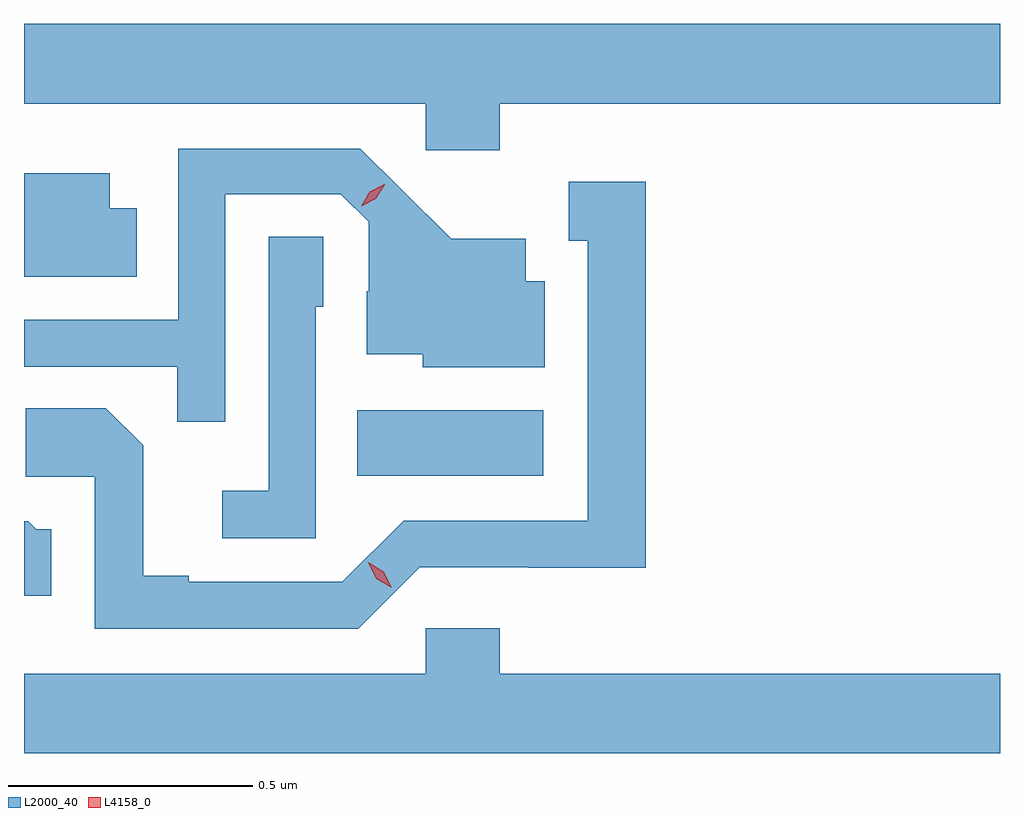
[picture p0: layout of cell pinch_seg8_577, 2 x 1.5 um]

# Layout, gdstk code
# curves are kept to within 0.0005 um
import gdstk
lib = gdstk.Library(unit=1e-6, precision=1e-09)
def R(c, l, rs):  # rectangles x0, y0, x1, y1
    for r in rs: c.add(gdstk.rectangle(r[:2], r[2:], *l))
def P(c, l, *ps):  # polygons
    for p in ps: c.add(gdstk.Polygon(p, *l))
L2000_40 = (2000, 40)
L4158_0 = (4158, 0)

pinch_seg8_577 = lib.new_cell('pinch_seg8_577')
R(pinch_seg8_577, L2000_40, [(168.004,1102.418,168.385,1102.552)])
P(pinch_seg8_577, L2000_40, [(167.321,1103.18),(168.144,1103.18),(168.144,1103.085),(168.296,1103.085),(168.296,1103.18),(169.321,1103.18),(169.321,1103.344),(167.321,1103.344)],
  [(167.733,1102.995),(167.97,1102.995),(168.027,1102.938),(168.027,1102.796),(168.023,1102.796),(168.023,1102.667),(168.138,1102.667),(168.138,1102.64),(168.388,1102.64),(168.388,1102.816),(168.349,1102.816),(168.349,1102.903),(168.197,1102.903),(168.01,1103.088),(167.637,1103.088),(167.637,1102.737),(167.321,1102.737),(167.321,1102.641),(167.635,1102.641),(167.635,1102.528),(167.733,1102.528)],
  [(167.552,1102.966),(167.497,1102.966),(167.497,1103.038),(167.321,1103.038),(167.321,1102.826),(167.552,1102.826)],
  [(168.132,1102.23),(168.354,1102.23),(168.354,1102.229),(168.595,1102.229),(168.595,1103.02),(168.437,1103.02),(168.437,1102.899),(168.476,1102.899),(168.476,1102.326),(168.099,1102.326),(167.973,1102.2),(167.659,1102.2),(167.659,1102.213),(167.565,1102.213),(167.565,1102.48),(167.489,1102.556),(167.325,1102.556),(167.325,1102.416),(167.466,1102.416),(167.466,1102.104),(168.006,1102.104)],
  [(167.919,1102.764),(167.934,1102.764),(167.934,1102.907),(167.823,1102.907),(167.823,1102.387),(167.727,1102.387),(167.727,1102.29),(167.919,1102.29)],
  [(167.377,1102.308),(167.346,1102.308),(167.33,1102.324),(167.321,1102.324),(167.321,1102.172),(167.377,1102.172)],
  [(169.321,1102.012),(168.296,1102.012),(168.296,1102.105),(168.144,1102.105),(168.144,1102.012),(167.321,1102.012),(167.321,1101.849),(169.321,1101.849)])
P(pinch_seg8_577, L4158_0, [(168.012,1102.97),(168.012,1102.97),(168.029,1103),(168.059,1103.015),(168.06,1103.015),(168.06,1103.014),(168.042,1102.985),(168.012,1102.97)],
  [(168.075,1102.188),(168.043,1102.207),(168.026,1102.24),(168.026,1102.24),(168.026,1102.24),(168.058,1102.221),(168.075,1102.188),(168.075,1102.188)])

lib.write_gds('pinch_seg8_577.gds')
